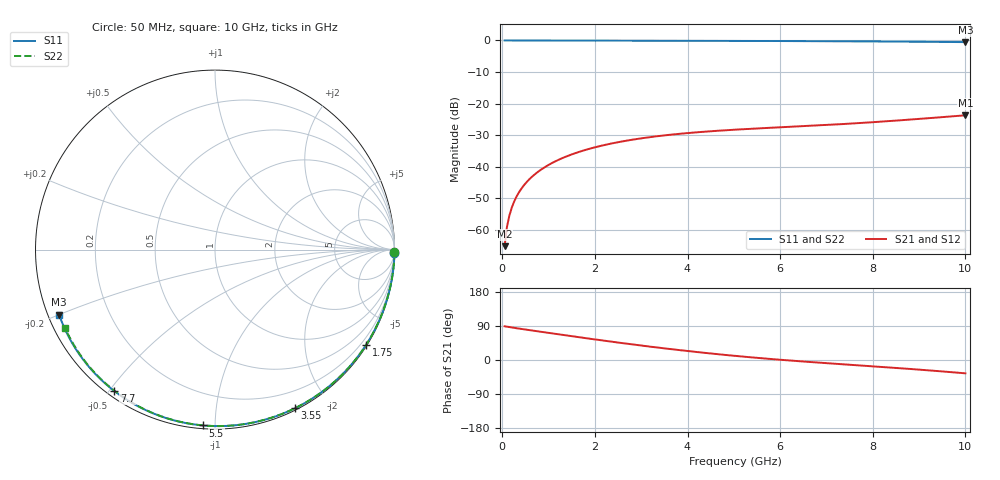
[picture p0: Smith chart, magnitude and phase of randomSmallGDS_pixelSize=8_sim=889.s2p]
! freq	dB(S11)	phase(S11)	dB(S12)	phase(S12)
!  dB(S21)	phase(S21)	dB(S22)	phase(S22)
!S-par simulation data
#  GHz  S  DB  R 50
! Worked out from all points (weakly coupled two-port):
!   200 points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, 50 MHz to 10 GHz, reference 50 ohm
!   highest |S21| = -23.69 dB at 10 GHz (marker M1); lowest = -65.1 dB at 50 MHz (marker M2)
!   lowest |S11| = -0.5 dB at 10 GHz (marker M3), VSWR 33.10, Z = 1.57 - j10 ohm
!   |S11| at or under -10 dB: nowhere
!   |S22| runs from -0.5 to 0.0 dB; largest |S21 - S12| = 0
!   S11 on the Smith chart (normalised r, x): 50 MHz: open; 1.75 GHz: 0.03, -3.48; 3.55 GHz: 0.02, -1.63; 5.5 GHz: 0.02, -0.93; 7.7 GHz: 0.02, -0.51; 10 GHz: 0.03, -0.20
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0.05  -0.00 -0.9  -65.11 88.9  -65.11 88.9  -0.00 -0.9
0.1  -0.00 -1.9  -59.10 87.9  -59.10 87.9  -0.00 -1.8
0.15  -0.00 -2.8  -55.59 86.9  -55.59 86.9  -0.00 -2.7
0.2  -0.00 -3.7  -53.11 85.9  -53.11 85.9  -0.00 -3.6
0.25  -0.00 -4.7  -51.19 84.9  -51.19 84.9  -0.00 -4.5
0.35  -0.00 -6.5  -48.30 83.1  -48.30 83.1  -0.00 -6.3
0.5  -0.01 -9.3  -45.25 80.4  -45.25 80.4  -0.01 -9.0
0.7  -0.01 -13.0  -42.39 76.8  -42.39 76.8  -0.01 -12.6
1  -0.02 -18.5  -39.38 71.6  -39.38 71.6  -0.02 -17.9
1.35  -0.03 -24.9  -36.91 65.4  -36.91 65.4  -0.03 -24.1
1.75  -0.04 -32.1  -34.84 58.5  -34.84 58.5  -0.04 -31.0
2.5  -0.06 -45.3  -32.20 46.0  -32.20 46.0  -0.06 -43.9
3.4  -0.08 -60.7  -30.21 32.2  -30.21 32.2  -0.08 -58.7
3.55  -0.09 -63.2  -29.96 30.0  -29.96 30.0  -0.09 -61.2
4.3  -0.11 -75.3  -28.95 19.7  -28.95 19.7  -0.11 -73.0
5.05  -0.14 -87.1  -28.22 10.6  -28.22 10.6  -0.13 -84.4
5.5  -0.16 -93.9  -27.86 5.7  -27.86 5.7  -0.15 -91.0
6.7  -0.22 -111.4  -26.98 -5.8  -26.98 -5.8  -0.21 -108.1
7.7  -0.29 -125.5  -26.15 -14.1  -26.15 -14.1  -0.28 -121.8
8.35  -0.35 -134.5  -25.52 -19.6  -25.52 -19.6  -0.34 -130.5
9.2  -0.43 -146.2  -24.61 -27.3  -24.61 -27.3  -0.42 -141.7
10  -0.52 -157.3  -23.69 -35.2  -23.69 -35.2  -0.51 -152.4
